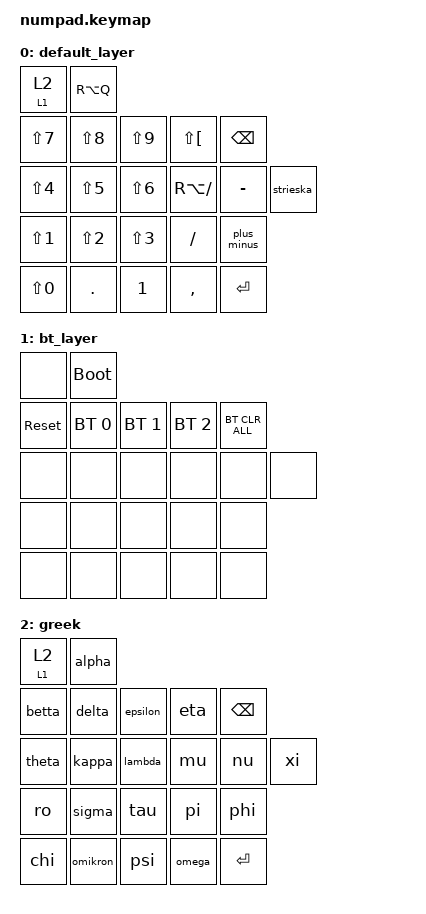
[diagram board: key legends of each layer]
#include <behaviors.dtsi>
#include <dt-bindings/zmk/keys.h>
#include <dt-bindings/zmk/bt.h>


&lt {
    tapping-term-ms = <200>;
};

/ {
    macros {
        strieska: zed_em_kay {
            compatible = "zmk,behavior-macro";
            #binding-cells = <0>;
            bindings
                = <&macro_press &kp RALT>
                , <&macro_tap &kp N3>
                , <&macro_release &kp RALT>
                , <&macro_tap &kp SPACE>
                ;
        };
        plus_minus: zed_em_kay2 {
            compatible = "zmk,behavior-macro";
            #binding-cells = <0>;
            bindings
                = <&macro_press &kp INS>
                , <&macro_tap &kp N1>
                , <&macro_tap &kp SLASH>
                , <&macro_release &kp INS>
                ;
        };
        alpha: zed_em_kay3 {
            compatible = "zmk,behavior-macro";
            #binding-cells = <0>;
            bindings
                = <&macro_press &kp INS>
                , <&macro_tap &kp RA(SLASH)>
                , <&macro_tap &kp A>
                , <&macro_release &kp INS>
                ;
        };
        betta: zed_em_kay4 {
            compatible = "zmk,behavior-macro";
            #binding-cells = <0>;
            bindings
                = <&macro_press &kp INS>
                , <&macro_tap &kp RA(SLASH)>
                , <&macro_tap &kp B>
                , <&macro_release &kp INS>
                ;
        };
        delta: zed_em_kay5 {
            compatible = "zmk,behavior-macro";
            #binding-cells = <0>;
            bindings
                = <&macro_press &kp INS>
                , <&macro_tap &kp RA(SLASH)>
                , <&macro_tap &kp D>
                , <&macro_release &kp INS>
                ;
        };
        epsilon: zed_em_kay6 {
            compatible = "zmk,behavior-macro";
            #binding-cells = <0>;
            bindings
                = <&macro_press &kp INS>
                , <&macro_tap &kp RA(SLASH)>
                , <&macro_tap &kp E>
                , <&macro_release &kp INS>
                ;
        };
        eta: zed_em_kay7 {
            compatible = "zmk,behavior-macro";
            #binding-cells = <0>;
            bindings
                = <&macro_press &kp INS>
                , <&macro_tap &kp RA(SLASH)>
                , <&macro_tap &kp H>
                , <&macro_release &kp INS>
                ;
        };
        theta: zed_em_kay8 {
            compatible = "zmk,behavior-macro";
            #binding-cells = <0>;
            bindings
                = <&macro_press &kp INS>
                , <&macro_tap &kp RA(SLASH)>
                , <&macro_tap &kp U>
                , <&macro_release &kp INS>
                ;
        };
        kappa: zed_em_kay9 {
            compatible = "zmk,behavior-macro";
            #binding-cells = <0>;
            bindings
                = <&macro_press &kp INS>
                , <&macro_tap &kp RA(SLASH)>
                , <&macro_tap &kp K>
                , <&macro_release &kp INS>
                ;
        };
        lambda: zed_em_kay10 {
            compatible = "zmk,behavior-macro";
            #binding-cells = <0>;
            bindings
                = <&macro_press &kp INS>
                , <&macro_tap &kp RA(SLASH)>
                , <&macro_tap &kp L>
                , <&macro_release &kp INS>
                ;
        };
        mu: zed_em_kay11 {
            compatible = "zmk,behavior-macro";
            #binding-cells = <0>;
            bindings
                = <&macro_press &kp INS>
                , <&macro_tap &kp RA(SLASH)>
                , <&macro_tap &kp M>
                , <&macro_release &kp INS>
                ;
        };
        nu: zed_em_kay12 {
            compatible = "zmk,behavior-macro";
            #binding-cells = <0>;
            bindings
                = <&macro_press &kp INS>
                , <&macro_tap &kp RA(SLASH)>
                , <&macro_tap &kp N>
                , <&macro_release &kp INS>
                ;
        };
        xi: zed_em_kay13 {
            compatible = "zmk,behavior-macro";
            #binding-cells = <0>;
            bindings
                = <&macro_press &kp INS>
                , <&macro_tap &kp RA(SLASH)>
                , <&macro_tap &kp J>
                , <&macro_release &kp INS>
                ;
        };
        ro: zed_em_kay14 {
            compatible = "zmk,behavior-macro";
            #binding-cells = <0>;
            bindings
                = <&macro_press &kp INS>
                , <&macro_tap &kp RA(SLASH)>
                , <&macro_tap &kp R>
                , <&macro_release &kp INS>
                ;
        };
        sigma: zed_em_kay15 {
            compatible = "zmk,behavior-macro";
            #binding-cells = <0>;
            bindings
                = <&macro_press &kp INS>
                , <&macro_tap &kp RA(SLASH)>
                , <&macro_tap &kp S>
                , <&macro_release &kp INS>
                ;
        };
        tau: zed_em_kay16 {
            compatible = "zmk,behavior-macro";
            #binding-cells = <0>;
            bindings
                = <&macro_press &kp INS>
                , <&macro_tap &kp RA(SLASH)>
                , <&macro_tap &kp T>
                , <&macro_release &kp INS>
                ;
        };
        pi: zed_em_kay17 {
            compatible = "zmk,behavior-macro";
            #binding-cells = <0>;
            bindings
                = <&macro_press &kp INS>
                , <&macro_tap &kp RA(SLASH)>
                , <&macro_tap &kp P>
                , <&macro_release &kp INS>
                ;
        };
        phi: zed_em_kay18 {
            compatible = "zmk,behavior-macro";
            #binding-cells = <0>;
            bindings
                = <&macro_press &kp INS>
                , <&macro_tap &kp RA(SLASH)>
                , <&macro_tap &kp F>
                , <&macro_release &kp INS>
                ;
        };
        chi: zed_em_kay19 {
            compatible = "zmk,behavior-macro";
            #binding-cells = <0>;
            bindings
                = <&macro_press &kp INS>
                , <&macro_tap &kp RA(SLASH)>
                , <&macro_tap &kp X>
                , <&macro_release &kp INS>
                ;
        };
        omikron: zed_em_kay20 {
            compatible = "zmk,behavior-macro";
            #binding-cells = <0>;
            bindings
                = <&macro_press &kp INS>
                , <&macro_tap &kp RA(SLASH)>
                , <&macro_tap &kp O>
                , <&macro_release &kp INS>
                ;
        };
        psi: zed_em_kay21 {
            compatible = "zmk,behavior-macro";
            #binding-cells = <0>;
            bindings
                = <&macro_press &kp INS>
                , <&macro_tap &kp RA(SLASH)>
                , <&macro_tap &kp C>
                , <&macro_release &kp INS>
                ;
        };
        omega: zed_em_kay22 {
            compatible = "zmk,behavior-macro";
            #binding-cells = <0>;
            bindings
                = <&macro_press &kp INS>
                , <&macro_tap &kp RA(SLASH)>
                , <&macro_tap &kp V>
                , <&macro_release &kp INS>
                ;
        };
    };

    behaviors {
        mo_tog: behavior_mo_tog {
            compatible = "zmk,behavior-hold-tap";
            #binding-cells = <2>;
            flavor = "hold-preferred";
            tapping-term-ms = <200>;
            bindings = <&mo>, <&tog>;
        };
    };

    keymap {
        compatible = "zmk,keymap";

        default_layer {
            bindings = < 
            &mo_tog 1 2   &kp RA(Q)
            &kp LS(N7)   &kp LS(N8)   &kp LS(N9)   &kp LS(LBKT)   &kp BACKSPACE
            &kp LS(N4)   &kp LS(N5)   &kp LS(N6)   &kp RA(SLASH)   &kp MINUS   &strieska
            &kp LS(N1)   &kp LS(N2)   &kp LS(N3)   &kp SLASH   &plus_minus
                &kp LS(N0)   &kp DOT   &kp N1   &kp COMMA   &kp ENTER
            >;
        };

        bt_layer {
            bindings = < 
            &none   &bootloader
            &sys_reset   &bt BT_SEL 0   &bt BT_SEL 1   &bt BT_SEL 2   &bt BT_CLR_ALL
            &none   &none   &none   &none   &none   &none
            &none   &none   &none   &none   &none
                &none   &none   &none   &none   &none
            >;
        };

        greek {
            bindings = < 
            &mo_tog 1 2  &alpha
            &betta   &delta   &epsilon   &eta   &kp BACKSPACE
            &theta   &kappa   &lambda   &mu   &nu   &xi
            &ro   &sigma   &tau   &pi   &phi
                &chi   &omikron   &psi   &omega   &kp ENTER
            >;
        };
    };
};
